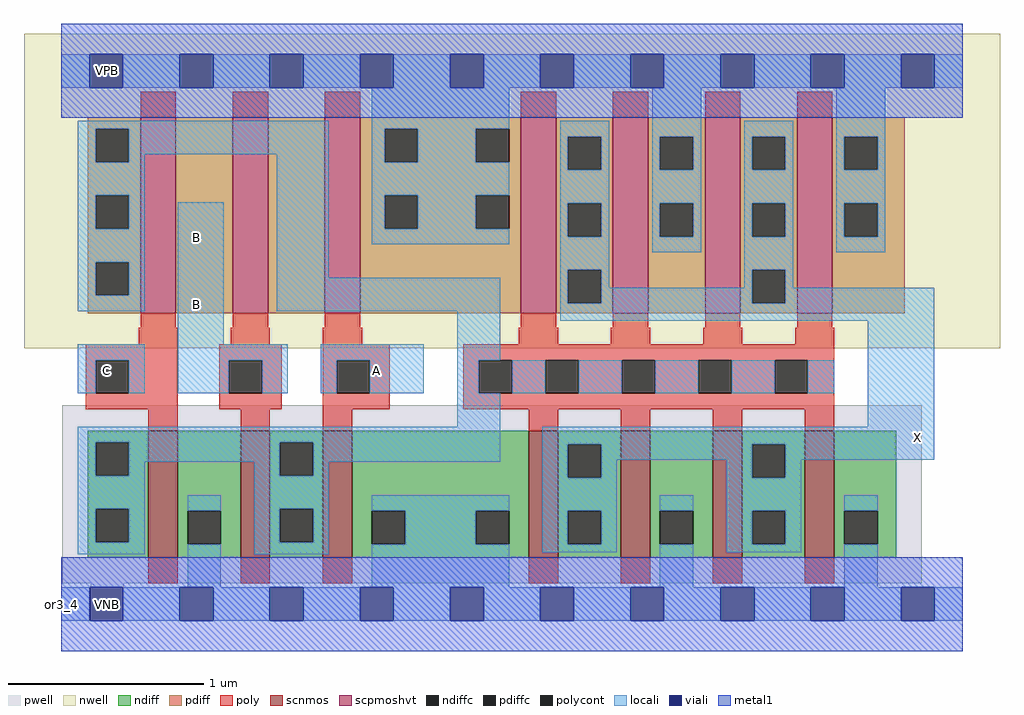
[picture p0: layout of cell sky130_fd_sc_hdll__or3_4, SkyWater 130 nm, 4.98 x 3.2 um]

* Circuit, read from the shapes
.subckt sky130_fd_sc_hdll__or3_4 A B C VGND VNB VPB VPWR X
XM1 VGND C n1 VNB sky130_fd_pr__nfet_01v8 w=0.65 l=0.15
XM2 n1 B VGND VNB sky130_fd_pr__nfet_01v8 w=0.65 l=0.15
XM3 VGND A n1 VNB sky130_fd_pr__nfet_01v8 w=0.65 l=0.15
XM4 X n1 VGND VNB sky130_fd_pr__nfet_01v8 w=0.65 l=0.15 m=4
XM5 n2 C n1 VPB sky130_fd_pr__pfet_01v8_hvt w=1 l=0.18
XM6 n3 B n2 VPB sky130_fd_pr__pfet_01v8_hvt w=1 l=0.18
XM7 VPWR A n3 VPB sky130_fd_pr__pfet_01v8_hvt w=1 l=0.18
XM8 X n1 VPWR VPB sky130_fd_pr__pfet_01v8_hvt w=1 l=0.18 m=4
.ends

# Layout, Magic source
magic
tech sky130A
magscale 1 2
<< nwell >>
rect -38 261 958 582
<< pwell >>
rect 1 21 878 203
rect 30 -17 64 21
<< scnmos >>
rect 89 47 119 177
rect 183 47 213 177
rect 267 47 297 177
rect 477 47 507 177
rect 571 47 601 177
rect 665 47 695 177
rect 759 47 789 177
<< scpmoshvt >>
rect 81 297 117 497
rect 175 297 211 497
rect 269 297 305 497
rect 469 297 505 497
rect 563 297 599 497
rect 657 297 693 497
rect 751 297 787 497
<< ndiff >>
rect 27 165 89 177
rect 27 131 35 165
rect 69 131 89 165
rect 27 97 89 131
rect 27 63 35 97
rect 69 63 89 97
rect 27 47 89 63
rect 119 95 183 177
rect 119 61 129 95
rect 163 61 183 95
rect 119 47 183 61
rect 213 165 267 177
rect 213 131 223 165
rect 257 131 267 165
rect 213 97 267 131
rect 213 63 223 97
rect 257 63 267 97
rect 213 47 267 63
rect 297 95 477 177
rect 297 61 317 95
rect 351 61 423 95
rect 457 61 477 95
rect 297 47 477 61
rect 507 163 571 177
rect 507 129 517 163
rect 551 129 571 163
rect 507 95 571 129
rect 507 61 517 95
rect 551 61 571 95
rect 507 47 571 61
rect 601 95 665 177
rect 601 61 611 95
rect 645 61 665 95
rect 601 47 665 61
rect 695 163 759 177
rect 695 129 705 163
rect 739 129 759 163
rect 695 95 759 129
rect 695 61 705 95
rect 739 61 759 95
rect 695 47 759 61
rect 789 95 852 177
rect 789 61 799 95
rect 833 61 852 95
rect 789 47 852 61
<< pdiff >>
rect 27 485 81 497
rect 27 451 35 485
rect 69 451 81 485
rect 27 417 81 451
rect 27 383 35 417
rect 69 383 81 417
rect 27 349 81 383
rect 27 315 35 349
rect 69 315 81 349
rect 27 297 81 315
rect 117 297 175 497
rect 211 297 269 497
rect 305 485 469 497
rect 305 451 330 485
rect 364 451 423 485
rect 457 451 469 485
rect 305 417 469 451
rect 305 383 330 417
rect 364 383 423 417
rect 457 383 469 417
rect 305 297 469 383
rect 505 477 563 497
rect 505 443 517 477
rect 551 443 563 477
rect 505 409 563 443
rect 505 375 517 409
rect 551 375 563 409
rect 505 341 563 375
rect 505 307 517 341
rect 551 307 563 341
rect 505 297 563 307
rect 599 477 657 497
rect 599 443 611 477
rect 645 443 657 477
rect 599 409 657 443
rect 599 375 611 409
rect 645 375 657 409
rect 599 297 657 375
rect 693 477 751 497
rect 693 443 705 477
rect 739 443 751 477
rect 693 409 751 443
rect 693 375 705 409
rect 739 375 751 409
rect 693 341 751 375
rect 693 307 705 341
rect 739 307 751 341
rect 693 297 751 307
rect 787 477 861 497
rect 787 443 799 477
rect 833 443 861 477
rect 787 409 861 443
rect 787 375 799 409
rect 833 375 861 409
rect 787 297 861 375
<< ndiffc >>
rect 35 131 69 165
rect 35 63 69 97
rect 129 61 163 95
rect 223 131 257 165
rect 223 63 257 97
rect 317 61 351 95
rect 423 61 457 95
rect 517 129 551 163
rect 517 61 551 95
rect 611 61 645 95
rect 705 129 739 163
rect 705 61 739 95
rect 799 61 833 95
<< pdiffc >>
rect 35 451 69 485
rect 35 383 69 417
rect 35 315 69 349
rect 330 451 364 485
rect 423 451 457 485
rect 330 383 364 417
rect 423 383 457 417
rect 517 443 551 477
rect 517 375 551 409
rect 517 307 551 341
rect 611 443 645 477
rect 611 375 645 409
rect 705 443 739 477
rect 705 375 739 409
rect 705 307 739 341
rect 799 443 833 477
rect 799 375 833 409
<< poly >>
rect 81 497 117 523
rect 175 497 211 523
rect 269 497 305 523
rect 469 497 505 523
rect 563 497 599 523
rect 657 497 693 523
rect 751 497 787 523
rect 81 282 117 297
rect 175 282 211 297
rect 269 282 305 297
rect 469 282 505 297
rect 563 282 599 297
rect 657 282 693 297
rect 751 282 787 297
rect 79 265 119 282
rect 173 265 213 282
rect 267 265 307 282
rect 467 265 507 282
rect 561 265 601 282
rect 655 265 695 282
rect 749 265 789 282
rect 25 249 119 265
rect 25 215 35 249
rect 69 215 119 249
rect 25 199 119 215
rect 161 249 225 265
rect 161 215 171 249
rect 205 215 225 249
rect 161 199 225 215
rect 267 249 335 265
rect 267 215 281 249
rect 315 215 335 249
rect 267 199 335 215
rect 410 249 789 265
rect 410 215 426 249
rect 460 215 494 249
rect 528 215 572 249
rect 606 215 650 249
rect 684 215 728 249
rect 762 215 789 249
rect 410 199 789 215
rect 89 177 119 199
rect 183 177 213 199
rect 267 177 297 199
rect 477 177 507 199
rect 571 177 601 199
rect 665 177 695 199
rect 759 177 789 199
rect 89 21 119 47
rect 183 21 213 47
rect 267 21 297 47
rect 477 21 507 47
rect 571 21 601 47
rect 665 21 695 47
rect 759 21 789 47
<< polycont >>
rect 35 215 69 249
rect 171 215 205 249
rect 281 215 315 249
rect 426 215 460 249
rect 494 215 528 249
rect 572 215 606 249
rect 650 215 684 249
rect 728 215 762 249
<< locali >>
rect 0 527 29 561
rect 63 527 121 561
rect 155 527 213 561
rect 247 527 305 561
rect 339 527 397 561
rect 431 527 489 561
rect 523 527 581 561
rect 615 527 673 561
rect 707 527 765 561
rect 799 527 857 561
rect 891 527 920 561
rect 17 485 273 493
rect 17 451 35 485
rect 69 459 273 485
rect 69 451 85 459
rect 17 417 85 451
rect 17 383 35 417
rect 69 383 85 417
rect 17 349 85 383
rect 17 315 35 349
rect 69 315 85 349
rect 17 299 85 315
rect 119 265 166 410
rect 220 333 273 459
rect 317 485 457 527
rect 317 451 330 485
rect 364 451 423 485
rect 317 417 457 451
rect 317 383 330 417
rect 364 383 423 417
rect 317 367 457 383
rect 509 477 559 493
rect 509 443 517 477
rect 551 443 559 477
rect 509 409 559 443
rect 509 375 517 409
rect 551 375 559 409
rect 509 341 559 375
rect 603 477 653 527
rect 603 443 611 477
rect 645 443 653 477
rect 603 409 653 443
rect 603 375 611 409
rect 645 375 653 409
rect 603 359 653 375
rect 697 477 747 493
rect 697 443 705 477
rect 739 443 747 477
rect 697 409 747 443
rect 697 375 705 409
rect 739 375 747 409
rect 220 299 448 333
rect 17 249 85 265
rect 17 215 35 249
rect 69 215 85 249
rect 119 249 231 265
rect 119 215 171 249
rect 205 215 231 249
rect 265 249 370 265
rect 265 215 281 249
rect 315 215 370 249
rect 404 249 448 299
rect 509 307 517 341
rect 551 323 559 341
rect 697 341 747 375
rect 791 477 841 527
rect 791 443 799 477
rect 833 443 841 477
rect 791 409 841 443
rect 791 375 799 409
rect 833 375 841 409
rect 791 359 841 375
rect 697 323 705 341
rect 551 307 705 323
rect 739 323 747 341
rect 739 307 891 323
rect 509 289 891 307
rect 404 215 426 249
rect 460 215 494 249
rect 528 215 572 249
rect 606 215 650 249
rect 684 215 728 249
rect 762 215 789 249
rect 404 181 448 215
rect 823 181 891 289
rect 17 165 448 181
rect 17 131 35 165
rect 69 145 223 165
rect 69 131 85 145
rect 17 97 85 131
rect 197 131 223 145
rect 257 145 448 165
rect 491 163 891 181
rect 257 131 273 145
rect 17 63 35 97
rect 69 63 85 97
rect 17 51 85 63
rect 129 95 163 111
rect 129 17 163 61
rect 197 97 273 131
rect 491 129 517 163
rect 551 147 705 163
rect 551 129 567 147
rect 197 63 223 97
rect 257 63 273 97
rect 197 51 273 63
rect 317 95 457 111
rect 351 61 423 95
rect 317 17 457 61
rect 491 95 567 129
rect 679 129 705 147
rect 739 147 891 163
rect 739 129 755 147
rect 491 61 517 95
rect 551 61 567 95
rect 491 53 567 61
rect 611 95 645 111
rect 611 17 645 61
rect 679 95 755 129
rect 679 61 705 95
rect 739 61 755 95
rect 679 53 755 61
rect 799 95 833 111
rect 799 17 833 61
rect 0 -17 29 17
rect 63 -17 121 17
rect 155 -17 213 17
rect 247 -17 305 17
rect 339 -17 397 17
rect 431 -17 489 17
rect 523 -17 581 17
rect 615 -17 673 17
rect 707 -17 765 17
rect 799 -17 857 17
rect 891 -17 920 17
<< viali >>
rect 29 527 63 561
rect 121 527 155 561
rect 213 527 247 561
rect 305 527 339 561
rect 397 527 431 561
rect 489 527 523 561
rect 581 527 615 561
rect 673 527 707 561
rect 765 527 799 561
rect 857 527 891 561
rect 29 -17 63 17
rect 121 -17 155 17
rect 213 -17 247 17
rect 305 -17 339 17
rect 397 -17 431 17
rect 489 -17 523 17
rect 581 -17 615 17
rect 673 -17 707 17
rect 765 -17 799 17
rect 857 -17 891 17
<< metal1 >>
rect 0 561 920 592
rect 0 527 29 561
rect 63 527 121 561
rect 155 527 213 561
rect 247 527 305 561
rect 339 527 397 561
rect 431 527 489 561
rect 523 527 581 561
rect 615 527 673 561
rect 707 527 765 561
rect 799 527 857 561
rect 891 527 920 561
rect 0 496 920 527
rect 0 17 920 48
rect 0 -17 29 17
rect 63 -17 121 17
rect 155 -17 213 17
rect 247 -17 305 17
rect 339 -17 397 17
rect 431 -17 489 17
rect 523 -17 581 17
rect 615 -17 673 17
rect 707 -17 765 17
rect 799 -17 857 17
rect 891 -17 920 17
rect 0 -48 920 -17
<< labels >>
flabel locali s 305 221 339 255 0 FreeSans 400 0 0 0 A
port 1 nsew signal input
flabel locali s 857 153 891 187 0 FreeSans 200 0 0 0 X
port 8 nsew signal output
flabel locali s 121 357 155 391 0 FreeSans 400 0 0 0 B
port 2 nsew signal input
flabel locali s 29 221 63 255 0 FreeSans 400 0 0 0 C
port 3 nsew signal input
flabel locali s 121 289 155 323 0 FreeSans 400 0 0 0 B
port 2 nsew signal input
flabel nwell s 30 527 64 561 0 FreeSans 200 0 0 0 VPB
port 6 nsew power bidirectional
flabel pwell s 30 -17 64 17 0 FreeSans 200 0 0 0 VNB
port 5 nsew ground bidirectional
flabel metal1 s 30 527 64 561 0 FreeSans 200 0 0 0 VPWR
port 7 nsew power bidirectional
flabel metal1 s 30 -17 64 17 0 FreeSans 200 0 0 0 VGND
port 4 nsew ground bidirectional
rlabel comment s 0 0 0 0 4 or3_4
<< properties >>
string LEFsite unithd
string LEFclass CORE
string FIXED_BBOX 0 0 920 544
string GDS_FILE $PDKPATH/libs.ref/sky130_fd_sc_hdll/gds/sky130_fd_sc_hdll.gds
string LEFsymmetry X Y R90
string GDS_END 1485566
string GDS_START 1478124
string LEFproperties maskLayoutSubType "abstract" prCellType "standard" originalViewName "layout"
<< end >>
